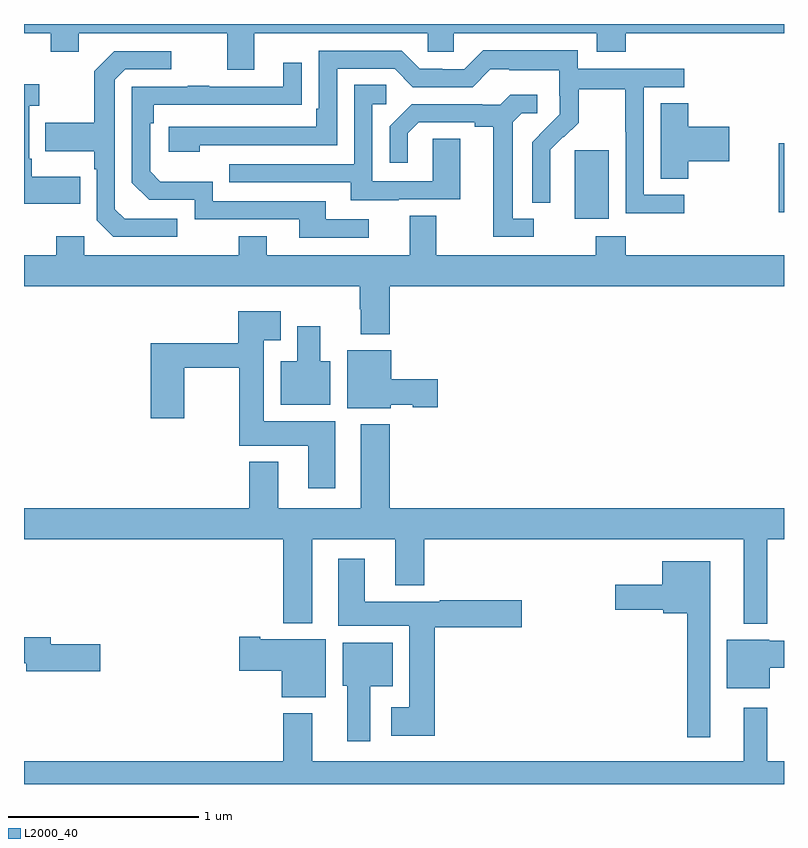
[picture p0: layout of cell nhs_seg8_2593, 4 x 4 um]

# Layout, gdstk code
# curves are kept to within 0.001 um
import gdstk
lib = gdstk.Library(unit=1e-6, precision=1e-09)
def R(c, l, rs):  # rectangles x0, y0, x1, y1
    for r in rs: c.add(gdstk.rectangle(r[:2], r[2:], *l))
def P(c, l, *ps):  # polygons
    for p in ps: c.add(gdstk.Polygon(p, *l))
L2000_40 = (2000, 40)

nhs_seg8_2593 = lib.new_cell('nhs_seg8_2593')
R(nhs_seg8_2593, L2000_40, [(277.898,1096.874,278.077,1097.235), (278.972,1096.908,279,1097.272)])
P(nhs_seg8_2593, L2000_40, [(276.211,1097.852),(277.125,1097.852),(277.125,1097.754),(277.263,1097.754),(277.263,1097.852),(278.015,1097.852),(278.015,1097.753),(278.168,1097.753),(278.168,1097.852),(279,1097.852),(279,1097.9),(275,1097.9),(275,1097.852),(275.14,1097.852),(275.14,1097.753),(275.287,1097.753),(275.287,1097.852),(276.071,1097.852),(276.071,1097.658),(276.211,1097.658)],
  [(278.476,1097.001),(278.262,1097.001),(278.262,1097.568),(278.476,1097.568),(278.476,1097.664),(277.914,1097.664),(277.914,1097.761),(277.417,1097.761),(277.317,1097.661),(277.202,1097.661),(277.202,1097.664),(277.083,1097.664),(276.987,1097.76),(276.552,1097.76),(276.552,1097.455),(276.539,1097.455),(276.539,1097.358),(275.763,1097.358),(275.763,1097.228),(275.924,1097.228),(275.924,1097.262),(276.648,1097.262),(276.648,1097.664),(276.951,1097.664),(277.047,1097.568),(277.362,1097.568),(277.455,1097.661),(277.555,1097.661),(277.555,1097.657),(277.818,1097.657),(277.818,1097.523),(277.82,1097.523),(277.82,1097.426),(277.674,1097.278),(277.674,1096.96),(277.77,1096.96),(277.769,1097.237),(277.839,1097.307),(277.842,1097.304),(277.919,1097.381),(277.919,1097.556),(278.164,1097.556),(278.164,1097.332),(278.166,1097.332),(278.166,1096.903),(278.476,1096.903)],
  [(275.806,1096.875),(275.529,1096.875),(275.478,1096.926),(275.478,1097.607),(275.532,1097.661),(275.776,1097.661),(275.776,1097.757),(275.475,1097.757),(275.37,1097.651),(275.37,1097.379),(275.113,1097.379),(275.113,1097.231),(275.37,1097.231),(275.37,1097.135),(275.382,1097.135),(275.382,1096.866),(275.469,1096.779),(275.806,1096.779)],
  [(276.814,1096.872),(276.589,1096.872),(276.589,1096.968),(275.994,1096.968),(275.994,1097.071),(275.717,1097.071),(275.664,1097.124),(275.664,1097.378),(275.684,1097.378),(275.684,1097.475),(276.461,1097.476),(276.461,1097.695),(276.365,1097.695),(276.365,1097.571),(275.975,1097.571),(275.975,1097.576),(275.863,1097.576),(275.863,1097.571),(275.568,1097.571),(275.568,1097.064),(275.658,1096.974),(275.898,1096.974),(275.898,1096.872),(276.449,1096.872),(276.449,1096.776),(276.814,1096.776)],
  [(275.297,1097.095),(275.041,1097.095),(275.041,1097.191),(275.028,1097.191),(275.028,1097.471),(275.08,1097.471),(275.08,1097.584),(275,1097.584),(275,1096.955),(275.297,1096.955)],
  [(276.973,1096.977),(277.297,1096.977),(277.297,1097.297),(277.152,1097.297),(277.152,1097.073),(276.834,1097.073),(276.834,1097.478),(276.907,1097.478),(276.907,1097.579),(276.738,1097.579),(276.738,1097.163),(276.079,1097.163),(276.079,1097.067),(276.719,1097.067),(276.719,1096.973),(276.973,1096.973)],
  [(277.684,1096.875),(277.573,1096.875),(277.573,1097.383),(277.62,1097.43),(277.702,1097.43),(277.702,1097.527),(277.558,1097.527),(277.506,1097.475),(277.412,1097.475),(277.412,1097.478),(277.04,1097.478),(276.924,1097.362),(276.924,1097.169),(277.021,1097.169),(277.021,1097.325),(277.078,1097.382),(277.373,1097.382),(277.373,1097.36),(277.469,1097.36),(277.469,1096.779),(277.684,1096.779)],
  [(278.495,1097.177),(278.713,1097.177),(278.713,1097.36),(278.495,1097.36),(278.495,1097.483),(278.351,1097.483),(278.351,1097.086),(278.495,1097.086)],
  [(276.926,1096.52),(279,1096.52),(279,1096.684),(278.168,1096.684),(278.168,1096.783),(278.008,1096.783),(278.008,1096.684),(277.171,1096.684),(277.171,1096.892),(277.031,1096.892),(277.031,1096.684),(276.277,1096.684),(276.277,1096.783),(276.13,1096.783),(276.13,1096.684),(275.316,1096.684),(275.316,1096.783),(275.17,1096.783),(275.17,1096.684),(275,1096.684),(275,1096.52),(276.766,1096.52),(276.766,1096.4),(276.773,1096.4),(276.773,1096.268),(276.926,1096.268)],
  [(276.637,1095.808),(276.262,1095.808),(276.262,1096.235),(276.352,1096.235),(276.352,1096.387),(276.128,1096.387),(276.128,1096.219),(275.666,1096.219),(275.666,1095.825),(275.844,1095.825),(275.844,1096.09),(276.133,1096.09),(276.133,1095.68),(276.497,1095.68),(276.497,1095.456),(276.637,1095.456)],
  [(276.613,1096.126),(276.559,1096.126),(276.559,1096.309),(276.437,1096.309),(276.437,1096.126),(276.35,1096.126),(276.35,1095.896),(276.613,1095.896)],
  [(276.93,1095.896),(277.047,1095.896),(277.047,1095.884),(277.177,1095.884),(277.177,1096.031),(276.934,1096.031),(276.934,1096.183),(276.701,1096.183),(276.701,1095.878),(276.93,1095.878)],
  [(278.911,1095.188),(279,1095.188),(279,1095.352),(276.926,1095.352),(276.926,1095.793),(276.773,1095.793),(276.773,1095.352),(276.337,1095.352),(276.337,1095.595),(276.185,1095.595),(276.185,1095.352),(275,1095.352),(275,1095.188),(276.365,1095.188),(276.365,1094.747),(276.517,1094.747),(276.517,1095.188),(276.953,1095.188),(276.953,1094.945),(277.106,1094.945),(277.106,1095.188),(278.789,1095.188),(278.789,1094.744),(278.911,1094.744)],
  [(277.163,1094.726),(277.621,1094.726),(277.621,1094.868),(277.189,1094.868),(277.189,1094.86),(276.793,1094.86),(276.793,1095.085),(276.653,1095.085),(276.653,1094.732),(277.028,1094.732),(277.028,1094.305),(276.933,1094.305),(276.933,1094.153),(277.163,1094.153)],
  [(278.611,1095.073),(278.36,1095.073),(278.36,1094.95),(278.112,1094.95),(278.112,1094.816),(278.364,1094.816),(278.364,1094.798),(278.49,1094.798),(278.49,1094.145),(278.611,1094.145)],
  [(276.589,1094.662),(276.244,1094.662),(276.244,1094.675),(276.132,1094.675),(276.132,1094.497),(276.356,1094.497),(276.356,1094.357),(276.589,1094.357)],
  [(275.401,1094.636),(275.14,1094.636),(275.14,1094.672),(275,1094.672),(275,1094.536),(275.012,1094.536),(275.012,1094.494),(275.401,1094.494)],
  [(278.926,1094.512),(279,1094.512),(279,1094.654),(278.922,1094.654),(278.922,1094.659),(278.699,1094.659),(278.699,1094.405),(278.926,1094.405)],
  [(276.823,1094.414),(276.94,1094.414),(276.94,1094.644),(276.677,1094.644),(276.677,1094.418),(276.701,1094.418),(276.701,1094.124),(276.823,1094.124)],
  [(279,1094.02),(278.911,1094.02),(278.911,1094.302),(278.789,1094.302),(278.789,1094.02),(276.517,1094.02),(276.517,1094.272),(276.365,1094.272),(276.365,1094.02),(275,1094.02),(275,1093.9),(279,1093.9)])

lib.write_gds('nhs_seg8_2593.gds')
